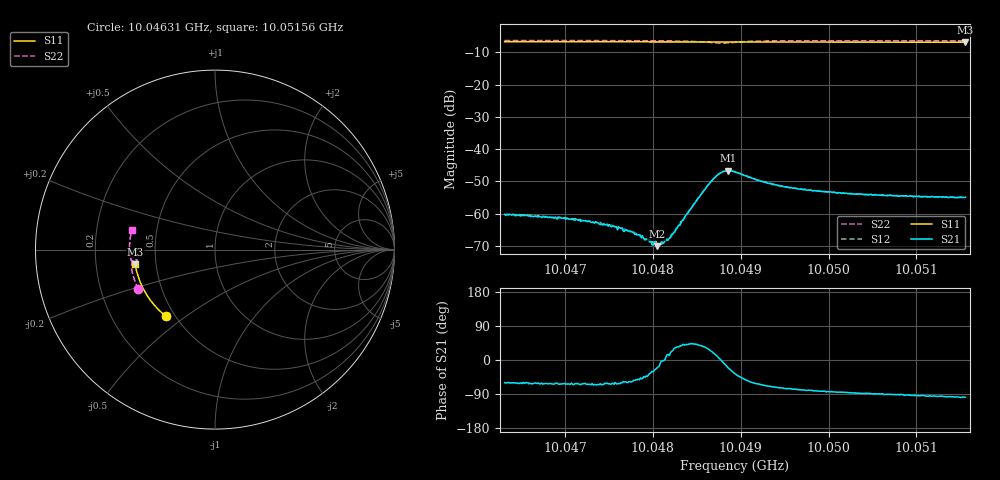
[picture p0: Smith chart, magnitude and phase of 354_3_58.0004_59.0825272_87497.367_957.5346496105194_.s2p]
#  HZ  S  RI  R  50.00
! Rohde & Schwarz Vector Network Analyzer
! Rohde-Schwarz,ZNB20-2Port,1311601062101988,3.16
! Created: UTC 3/21/2024, 1:06:09 AM
! freq[Hz]  re:S11  im:S11  re:S21  im:S21  re:S12  im:S12  re:S22  im:S22
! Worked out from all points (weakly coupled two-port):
!   401 points, 10.04631 GHz to 10.05156 GHz, reference 50 ohm
!   highest |S21| = -46.69 dB at 10.04886 GHz (marker M1); lowest = -70.0 dB at 10.04804 GHz (marker M2)
!   lowest |S11| = -6.9 dB at 10.05156 GHz (marker M3), VSWR 2.65, Z = 19 - j3.8 ohm
!   |S11| at or under -10 dB: nowhere
!   |S22| runs from -7.2 to -6.4 dB; largest |S21 - S12| = 0.00035
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1.0046314e10  -0.2749 -0.3703  0.000489 -0.00084  0.000545 -0.000829  -0.4281 -0.2197
1.0046956e10  -0.3068 -0.3424  0.000387 -0.000775  0.000432 -0.000744  -0.445 -0.1798
1.0047192e10  -0.3179 -0.3314  0.00035 -0.000707  0.000366 -0.000677  -0.4503 -0.1646
1.0047507e10  -0.3322 -0.3163  0.000302 -0.000584  0.000355 -0.000573  -0.4566 -0.1436
1.0047717e10  -0.3412 -0.3059  0.000274 -0.000471  0.000299 -0.000448  -0.4601 -0.1292
1.0047861e10  -0.3472 -0.2985  0.000316 -0.000339  0.000296 -0.000322  -0.4621 -0.1187
1.0047979e10  -0.3521 -0.2923  0.000312 -0.000204  0.000318 -0.000192  -0.4635 -0.11
1.0048044e10  -0.3547 -0.2889  0.000291 -0.000119  0.000344 -9.21e-05  -0.464 -0.1051
1.0048071e10  -0.3557 -0.2877  0.00031 -9.79e-05  0.000308 -7.98e-05  -0.4641 -0.1029
1.0048097e10  -0.3568 -0.2861  0.000366 -1.73e-05  0.000338 -3.45e-05  -0.4644 -0.1009
1.0048149e10  -0.3588 -0.2835  0.000389 4.82e-05  0.00038 5.93e-05  -0.4647 -0.0968
1.0048228e10  -0.362 -0.2792  0.000437 0.000206  0.000437 0.000231  -0.4648 -0.0902
1.004849e10  -0.3719 -0.265  0.00115 0.001  0.00112 0.00111  -0.4594 -0.0666
1.0048687e10  -0.3787 -0.2541  0.00323 0.00112  0.00316 0.00137  -0.4409 -0.0555
1.0048765e10  -0.3813 -0.2498  0.00423 0.000175  0.00425 0.000426  -0.4331 -0.0613
1.0048857e10  -0.3842 -0.245  0.00433 -0.00162  0.00448 -0.00132  -0.4352 -0.0724
1.0048936e10  -0.387 -0.2405  0.00359 -0.00263  0.0038 -0.0024  -0.4442 -0.0764
1.0049342e10  -0.4 -0.2172  0.00101 -0.00273  0.00118 -0.00271  -0.471 -0.0472
1.0049565e10  -0.4065 -0.204  0.000633 -0.00243  0.000757 -0.00245  -0.4747 -0.0294
1.0049814e10  -0.4133 -0.1891  0.000394 -0.00224  0.000485 -0.00221  -0.4763 -0.0108
1.0050692e10  -0.4325 -0.1349  -1.2e-05 -0.00192  8.53e-05 -0.00192  -0.4741 0.0503
1.0051558e10  -0.4449 -0.0796  -0.00026 -0.00178  -0.000149 -0.00179  -0.464 0.107
